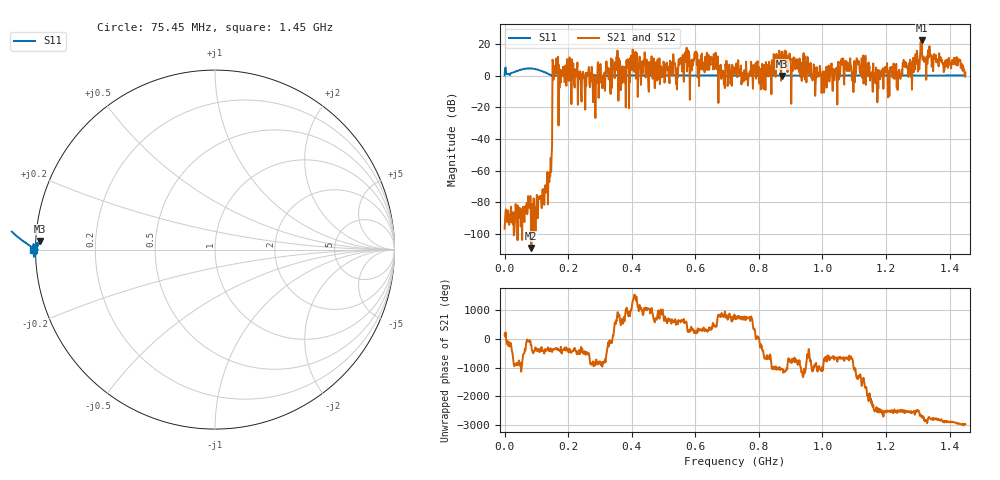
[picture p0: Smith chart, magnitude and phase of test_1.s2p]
! Created with skrf 1.11.0 (http://scikit-rf.org).
# Hz S RI R 50.0
!freq ReS11 ImS11 ReS21 ImS21 ReS12 ImS12 ReS22 ImS22
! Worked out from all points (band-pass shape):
!   1001 points, 50 kHz to 1.45 GHz, reference 50 ohm
!   highest |S21| = 22.21 dB at 1.312 GHz (marker M1); lowest = -108.9 dB at 84.15 MHz (marker M2)
!   |S21| within 3 dB of the highest: 1.308959 GHz to 1.309805 GHz (846.5 kHz wide, 0.0647 % of centre); 1.311677 GHz to 1.312764 GHz (1.087 MHz wide, 0.0829 % of centre)
!   lowest |S11| = -0.2 dB at 872.9 MHz (marker M3), VSWR 80.13, Z = 0.624 + j1.25 ohm
!   |S11| at or under -10 dB: nowhere
!   |S22| runs from - to - dB; largest |S21 - S12| = 0
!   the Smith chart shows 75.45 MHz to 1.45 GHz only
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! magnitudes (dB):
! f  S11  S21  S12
! 50 kHz  0.0  -96.8  -96.8
! 84.15 MHz  4.5  -108.9  -108.9
! 139.2 MHz  0.9  -64.2  -64.2
! 142.1 MHz  0.6  -61.2  -61.2
! 158.1 MHz  0.0  0.5  0.5
! 242.2 MHz  0.1  -16.4  -16.4
! 284.2 MHz  0.0  -3.0  -3.0
! 349.5 MHz  0.1  3.2  3.2
! 374.1 MHz  0.1  2.6  2.6
! 404.6 MHz  0.1  11.9  11.9
! 484.3 MHz  0.1  2.6  2.6
! 545.2 MHz  0.1  -1.0  -1.0
! 574.2 MHz  0.1  2.6  2.6
! 656.9 MHz  0.1  3.9  3.9
! 685.9 MHz  0.1  -0.4  -0.4
! 725 MHz  0.1  1.1  1.1
! 813.5 MHz  0.0  -1.6  -1.6
! 872.9 MHz  -0.2  15.1  15.1
! 967.2 MHz  0.0  -0.1  -0.1
! 1.209 GHz  0.0  2.0  2.0
! 1.312 GHz  0.0  22.2  22.2
! 1.45 GHz  0.1  1.9  1.9
